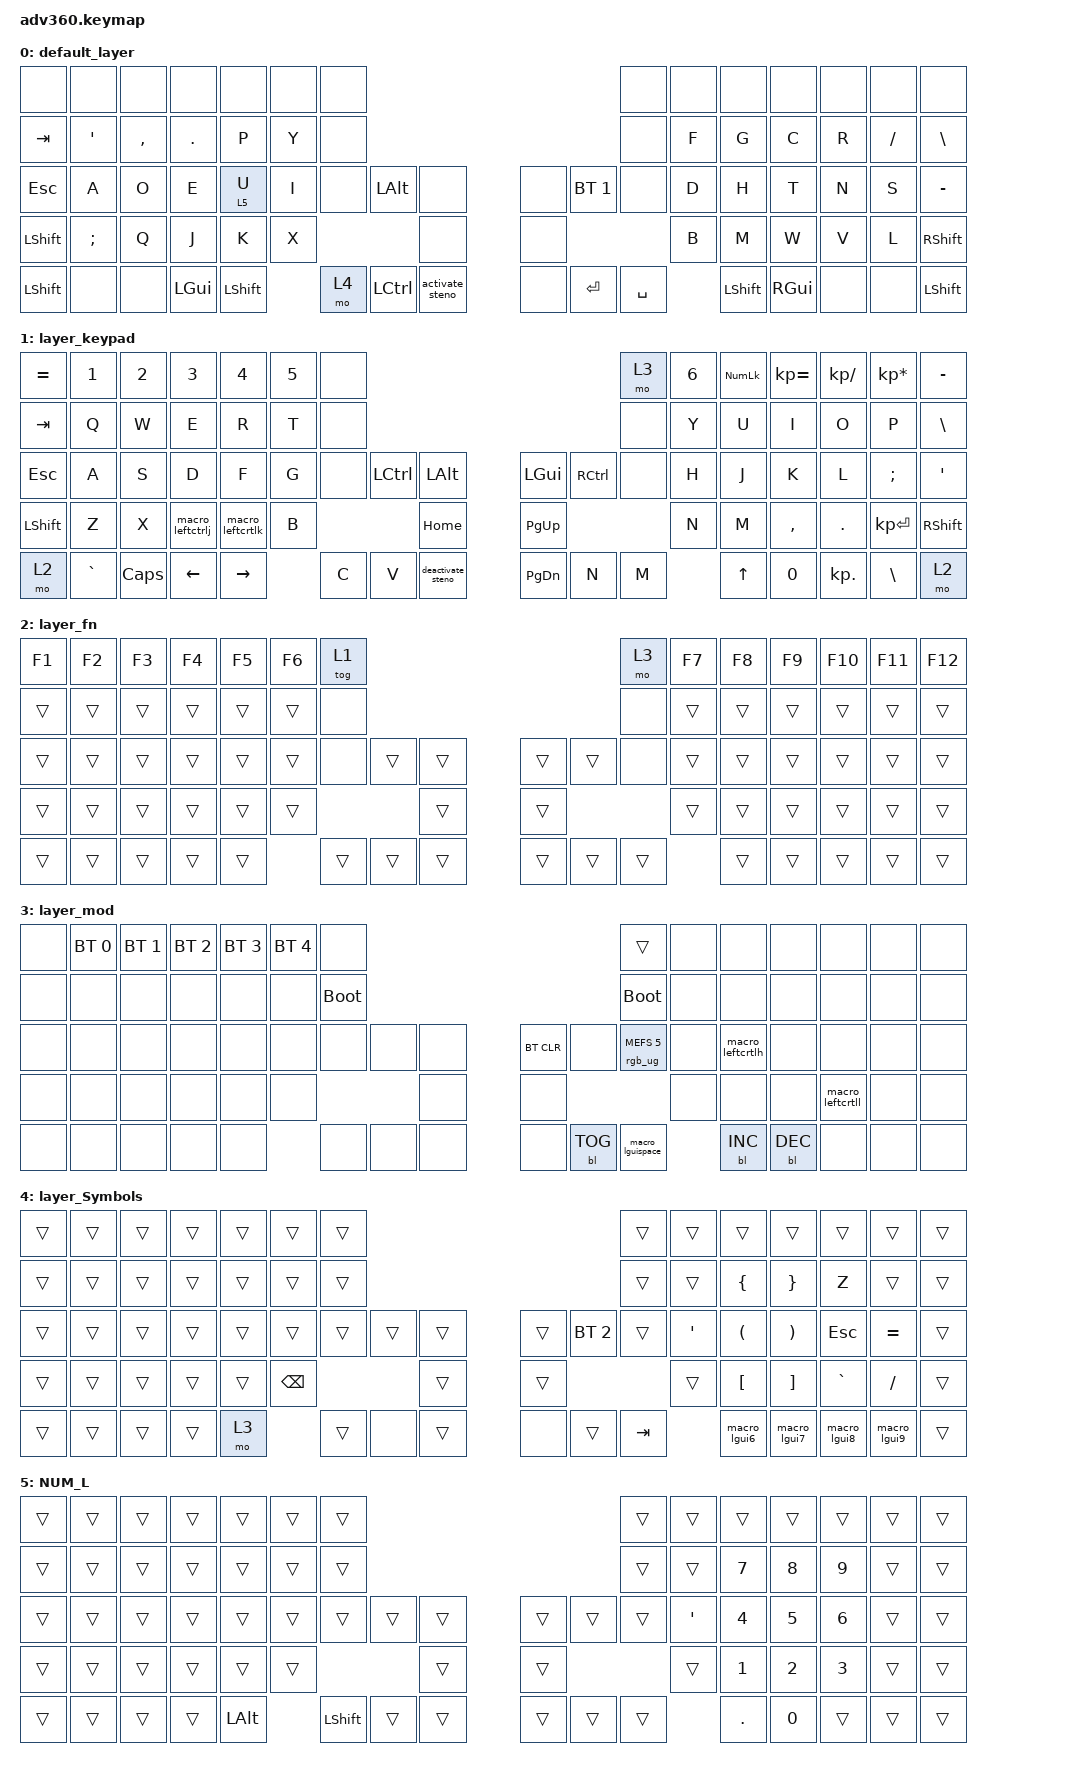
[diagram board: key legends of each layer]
/*
 * Copyright (c) 2020 The ZMK Contributors
 *
 * SPDX-License-Identifier: MIT
 */
/* THIS FILE WAS GENERATED!
 *
 * This file was generated automatically. You may or may not want to
 * edit it directly.
 */

#include <behaviors.dtsi>
#include <dt-bindings/zmk/backlight.h>
#include <dt-bindings/zmk/bt.h>
#include <dt-bindings/zmk/keys.h>
#include <dt-bindings/zmk/rgb.h>

/ {
    behaviors {
        #include "macros.dtsi"
    #include "version.dtsi"

        hm: homerow_mods {
            compatible = "zmk,behavior-hold-tap";
            label = "HOMEROW_MODS";
            #binding-cells = <2>;
            tapping-term-ms = <200>;
            quick_tap_ms = <175>;
            flavor = "tap-preferred";
            bindings = <&kp>, <&kp>;
        };
    };

    macros {
        activate_steno: activate_steno {
            compatible = "zmk,behavior-macro";
            #binding-cells = <0>;
            bindings = <&kp F9 &kp F24 &to 1>;
            label = "ACTIVATE_STENO";
        };

        deactivate_steno: deactivate_steno {
            compatible = "zmk,behavior-macro";
            #binding-cells = <0>;
            bindings = <&kp F9 &kp F24 &to 0>;
            label = "DEACTIVATE_STENO";
        };
    };

    keymap {
        compatible = "zmk,keymap";

        default_layer {
            bindings = <
&none      &none     &none      &none         &none           &none  &none                                                          &none      &none  &none           &none          &none  &none     &none
&kp TAB    &kp SQT   &kp COMMA  &kp DOT       &kp P           &kp Y  &none                                                          &none      &kp F  &kp G           &kp C          &kp R  &kp FSLH  &kp BSLH
&kp ESC    &kp A     &kp O      &kp E         &lt 5 U         &kp I  &none  &kp LEFT_ALT  &none                &none  &bt BT_SEL 1  &none      &kp D  &kp H           &kp T          &kp N  &kp S     &kp MINUS
&kp LSHFT  &kp SEMI  &kp Q      &kp J         &kp K           &kp X                       &none                &none                           &kp B  &kp M           &kp W          &kp V  &kp L     &kp RSHFT
&kp LSHFT  &none     &none      &kp LEFT_GUI  &kp LEFT_SHIFT         &mo 4  &kp LCTRL     &activate_steno      &none  &kp ENTER     &kp SPACE         &kp LEFT_SHIFT  &kp RIGHT_GUI  &none  &none     &kp LEFT_SHIFT
            >;
        };

        layer_keypad {
            bindings = <
&kp EQUAL  &kp N1     &kp N2    &kp N3            &kp N4            &kp N5  &none                                                          &mo 3  &kp N6  &kp KP_NUM  &kp KP_EQUAL  &kp KP_DIVIDE  &kp KP_MULTIPLY  &kp MINUS
&kp TAB    &kp Q      &kp W     &kp E             &kp R             &kp T   &none                                                          &none  &kp Y   &kp U       &kp I         &kp O          &kp P            &kp BSLH
&kp ESC    &kp A      &kp S     &kp D             &kp F             &kp G   &none  &kp LCTRL  &kp LALT               &kp LGUI   &kp RCTRL  &none  &kp H   &kp J       &kp K         &kp L          &kp SEMICOLON    &kp SQT
&kp LSHFT  &kp Z      &kp X     &macro_leftctrlj  &macro_leftcrtlk  &kp B                     &kp HOME               &kp PG_UP                    &kp N   &kp M       &kp COMMA     &kp PERIOD     &kp KP_ENTER     &kp RSHFT
&mo 2      &kp GRAVE  &kp CAPS  &kp LEFT          &kp RIGHT                 &kp C  &kp V      &deactivate_steno      &kp PG_DN  &kp N      &kp M          &kp UP      &kp N0        &kp KP_DOT     &kp BSLH         &mo 2
            >;
        };

        layer_fn {
            bindings = <
&kp F1  &kp F2  &kp F3  &kp F4  &kp F5  &kp F6  &tog 1                                      &mo 3   &kp F7  &kp F8  &kp F9  &kp F10  &kp F11  &kp F12
&trans  &trans  &trans  &trans  &trans  &trans  &none                                       &none   &trans  &trans  &trans  &trans   &trans   &trans
&trans  &trans  &trans  &trans  &trans  &trans  &none   &trans  &trans      &trans  &trans  &none   &trans  &trans  &trans  &trans   &trans   &trans
&trans  &trans  &trans  &trans  &trans  &trans                  &trans      &trans                  &trans  &trans  &trans  &trans   &trans   &trans
&trans  &trans  &trans  &trans  &trans          &trans  &trans  &trans      &trans  &trans  &trans          &trans  &trans  &trans   &trans   &trans
            >;
        };

        layer_mod {
            bindings = <
&none  &bt BT_SEL 0  &bt BT_SEL 1  &bt BT_SEL 2  &bt BT_SEL 3  &bt BT_SEL 4  &none                                                  &trans                  &none  &none             &none       &none             &none  &none
&none  &none         &none         &none         &none         &none         &bootloader                                            &bootloader             &none  &none             &none       &none             &none  &none
&none  &none         &none         &none         &none         &none         &none        &none  &none      &bt BT_CLR  &none       &rgb_ug RGB_MEFS_CMD 5  &none  &macro_leftcrtlh  &none       &none             &none  &none
&none  &none         &none         &none         &none         &none                             &none      &none                                           &none  &none             &none       &macro_leftcrtll  &none  &none
&none  &none         &none         &none         &none                       &none        &none  &none      &none       &bl BL_TOG  &macro_lguispace               &bl BL_INC        &bl BL_DEC  &none             &none  &none
            >;
        };

        layer_Symbols {
            bindings = <
&trans  &trans  &trans  &trans  &trans  &trans    &trans                                            &trans   &trans   &trans                &trans                 &trans        &trans        &trans
&trans  &trans  &trans  &trans  &trans  &trans    &trans                                            &trans   &trans   &kp LEFT_BRACE        &kp RIGHT_BRACE        &kp Z         &trans        &trans
&trans  &trans  &trans  &trans  &trans  &trans    &trans  &trans  &trans      &trans  &bt BT_SEL 2  &trans   &kp SQT  &kp LEFT_PARENTHESIS  &kp RIGHT_PARENTHESIS  &kp ESC       &kp EQUAL     &trans
&trans  &trans  &trans  &trans  &trans  &kp BSPC                  &trans      &trans                         &trans   &kp LEFT_BRACKET      &kp RIGHT_BRACKET      &kp GRAVE     &kp FSLH      &trans
&trans  &trans  &trans  &trans  &mo 3             &trans  &none   &trans      &none   &trans        &kp TAB           &macro_lgui6          &macro_lgui7           &macro_lgui8  &macro_lgui9  &trans
            >;
        };

        NUM_L {
            bindings = <
&trans  &trans  &trans  &trans  &trans        &trans  &trans                                              &trans  &trans   &trans        &trans        &trans        &trans  &trans
&trans  &trans  &trans  &trans  &trans        &trans  &trans                                              &trans  &trans   &kp N7        &kp N8        &kp N9        &trans  &trans
&trans  &trans  &trans  &trans  &trans        &trans  &trans          &trans  &trans      &trans  &trans  &trans  &kp SQT  &kp NUMBER_4  &kp N5        &kp NUMBER_6  &trans  &trans
&trans  &trans  &trans  &trans  &trans        &trans                          &trans      &trans                  &trans   &kp NUMBER_1  &kp NUMBER_2  &kp NUMBER_3  &trans  &trans
&trans  &trans  &trans  &trans  &kp LEFT_ALT          &kp LEFT_SHIFT  &trans  &trans      &trans  &trans  &trans           &kp PERIOD    &kp N0        &trans        &trans  &trans
            >;
        };
    };
};
